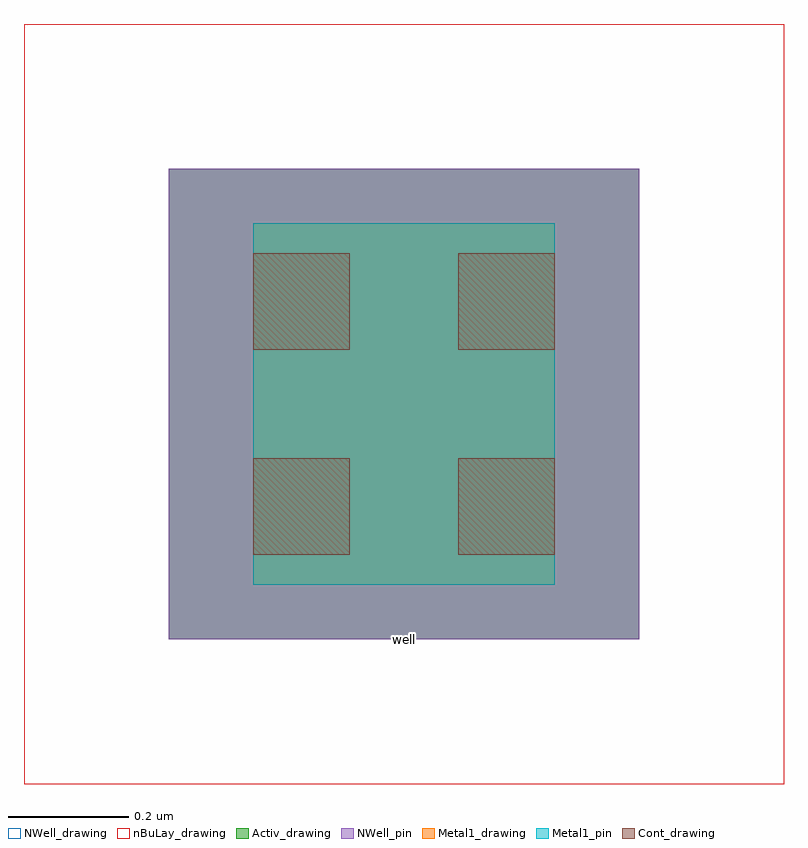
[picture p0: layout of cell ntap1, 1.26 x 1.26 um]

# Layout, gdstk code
import gdstk
lib = gdstk.Library(unit=1e-6, precision=1e-09)
def R(c, l, rs):  # rectangles x0, y0, x1, y1
    for r in rs: c.add(gdstk.rectangle(r[:2], r[2:], *l))
Activ_drawing = (1, 0)
Cont_drawing = (6, 0)
Metal1_drawing = (8, 0)
Metal1_pin = (8, 2)
NWell_drawing = (31, 0)
NWell_pin = (31, 2)
nBuLay_drawing = (32, 0)

ntap1 = lib.new_cell('ntap1')
R(ntap1, Activ_drawing, [(0,0,0.78,0.78)])
R(ntap1, Cont_drawing, [(0.14,0.14,0.3,0.3), (0.48,0.14,0.64,0.3), (0.14,0.48,0.3,0.64), (0.48,0.48,0.64,0.64)])
R(ntap1, Metal1_drawing, [(0.14,0.09,0.64,0.69)])
R(ntap1, Metal1_pin, [(0.14,0.09,0.64,0.69)])
R(ntap1, NWell_drawing, [(-0.24,-0.24,1.02,1.02)])
R(ntap1, NWell_pin, [(0,0,0.78,0.78)])
R(ntap1, nBuLay_drawing, [(-0.24,-0.24,1.02,1.02)])
ntap1.add(gdstk.Label('well', (0.39,0), layer=63, texttype=0))

lib.write_gds('ntap1.gds')
